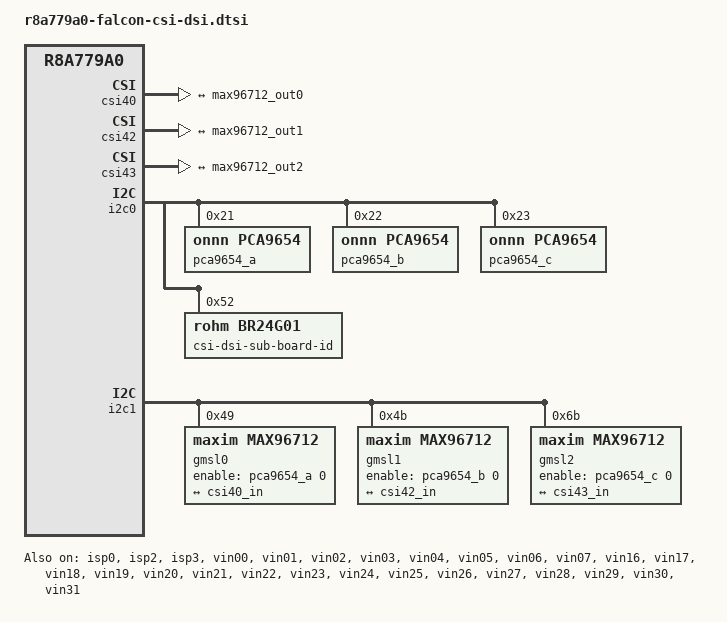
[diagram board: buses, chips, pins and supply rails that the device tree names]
// SPDX-License-Identifier: GPL-2.0
/*
 * Device Tree Source for the Falcon CSI/DSI sub-board
 *
 * Copyright (C) 2021 Glider bv
 */

#include <dt-bindings/media/video-interfaces.h>

&csi40 {
	status = "okay";

	ports {
		#address-cells = <1>;
		#size-cells = <0>;

		port@0 {
			reg = <0>;

			csi40_in: endpoint {
				clock-lanes = <0>;
				data-lanes = <1 2 3 4>;
				remote-endpoint = <&max96712_out0>;
			};
		};
	};
};

&csi42 {
	status = "okay";

	ports {
		#address-cells = <1>;
		#size-cells = <0>;

		port@0 {
			reg = <0>;

			csi42_in: endpoint {
				clock-lanes = <0>;
				data-lanes = <1 2 3 4>;
				remote-endpoint = <&max96712_out1>;
			};
		};
	};
};

&csi43 {
	status = "okay";

	ports {
		#address-cells = <1>;
		#size-cells = <0>;

		port@0 {
			reg = <0>;

			csi43_in: endpoint {
				clock-lanes = <0>;
				data-lanes = <1 2 3 4>;
				remote-endpoint = <&max96712_out2>;
			};
		};
	};
};

&i2c0 {
	pca9654_a: gpio@21 {
		compatible = "onnn,pca9654";
		reg = <0x21>;
		gpio-controller;
		#gpio-cells = <2>;
	};

	pca9654_b: gpio@22 {
		compatible = "onnn,pca9654";
		reg = <0x22>;
		gpio-controller;
		#gpio-cells = <2>;
	};

	pca9654_c: gpio@23 {
		compatible = "onnn,pca9654";
		reg = <0x23>;
		gpio-controller;
		#gpio-cells = <2>;
	};

	eeprom@52 {
		compatible = "rohm,br24g01", "atmel,24c01";
		label = "csi-dsi-sub-board-id";
		reg = <0x52>;
		pagesize = <8>;
	};
};

&i2c1 {
	gmsl0: gmsl-deserializer@49 {
		compatible = "maxim,max96712";
		reg = <0x49>;
		enable-gpios = <&pca9654_a 0 GPIO_ACTIVE_HIGH>;

		ports {
			#address-cells = <1>;
			#size-cells = <0>;

			port@4 {
				reg = <4>;
				max96712_out0: endpoint {
					bus-type = <MEDIA_BUS_TYPE_CSI2_DPHY>;
					clock-lanes = <0>;
					data-lanes = <1 2 3 4>;
					remote-endpoint = <&csi40_in>;
				};
			};
		};
	};

	gmsl1: gmsl-deserializer@4b {
		compatible = "maxim,max96712";
		reg = <0x4b>;
		enable-gpios = <&pca9654_b 0 GPIO_ACTIVE_HIGH>;

		ports {
			#address-cells = <1>;
			#size-cells = <0>;

			port@4 {
				reg = <4>;
				max96712_out1: endpoint {
					bus-type = <MEDIA_BUS_TYPE_CSI2_DPHY>;
					clock-lanes = <0>;
					data-lanes = <1 2 3 4>;
					lane-polarities = <0 0 0 0 1>;
					remote-endpoint = <&csi42_in>;
				};
			};
		};
	};

	gmsl2: gmsl-deserializer@6b {
		compatible = "maxim,max96712";
		reg = <0x6b>;
		enable-gpios = <&pca9654_c 0 GPIO_ACTIVE_HIGH>;

		ports {
			#address-cells = <1>;
			#size-cells = <0>;

			port@4 {
				reg = <4>;
				max96712_out2: endpoint {
					bus-type = <MEDIA_BUS_TYPE_CSI2_DPHY>;
					clock-lanes = <0>;
					data-lanes = <1 2 3 4>;
					lane-polarities = <0 0 0 0 1>;
					remote-endpoint = <&csi43_in>;
				};
			};
		};
	};
};

&isp0 {
	status = "okay";
};

&isp2 {
	status = "okay";
};

&isp3 {
	status = "okay";
};

&vin00 {
	status = "okay";
};

&vin01 {
	status = "okay";
};

&vin02 {
	status = "okay";
};

&vin03 {
	status = "okay";
};

&vin04 {
	status = "okay";
};

&vin05 {
	status = "okay";
};

&vin06 {
	status = "okay";
};

&vin07 {
	status = "okay";
};

&vin16 {
	status = "okay";
};

&vin17 {
	status = "okay";
};

&vin18 {
	status = "okay";
};

&vin19 {
	status = "okay";
};

&vin20 {
	status = "okay";
};

&vin21 {
	status = "okay";
};

&vin22 {
	status = "okay";
};

&vin23 {
	status = "okay";
};

&vin24 {
	status = "okay";
};

&vin25 {
	status = "okay";
};

&vin26 {
	status = "okay";
};

&vin27 {
	status = "okay";
};

&vin28 {
	status = "okay";
};

&vin29 {
	status = "okay";
};

&vin30 {
	status = "okay";
};

&vin31 {
	status = "okay";
};
